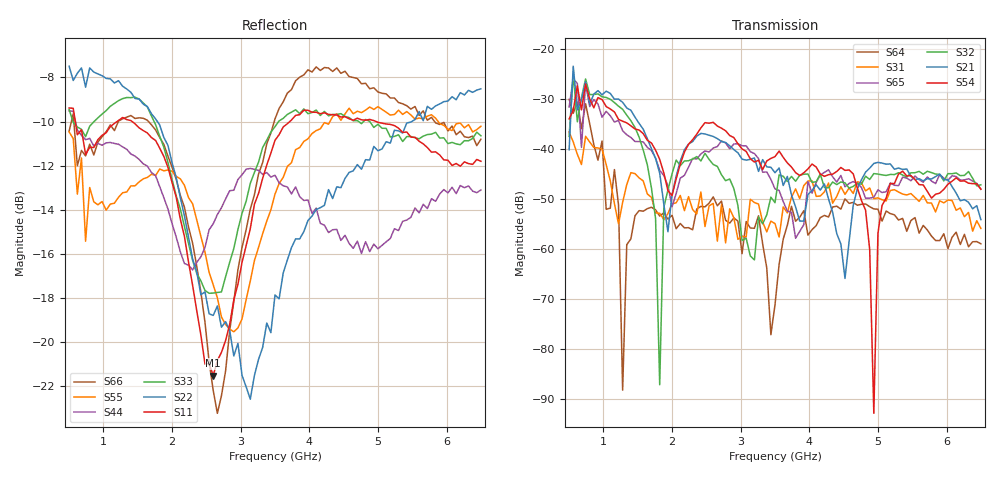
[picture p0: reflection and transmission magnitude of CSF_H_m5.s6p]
!Keysight Technologies,M9804A,MY58100912,A.14.10.03
!Date: Thursday, April 27, 2023 10:28:33
!Correction: S11(C  6-Port  )
!S12(C  6-Port  )
!S13(C  6-Port  )
!S14(C  6-Port  )
!S15(C  6-Port  )
!S16(C  6-Port  )
!S21(C  6-Port  )
!S22(C  6-Port  )
!S23(C  6-Port  )
!S24(C  6-Port  )
!S25(C  6-Port  )
!S26(C  6-Port  )
!S31(C  6-Port  )
!S32(C  6-Port  )
!S33(C  6-Port  )
!S34(C  6-Port  )
!S35(C  6-Port  )
!S36(C  6-Port  )
!S41(C  6-Port  )
!S42(C  6-Port  )
!S43(C  6-Port  )
!S44(C  6-Port  )
!S45(C  6-Port  )
!S46(C  6-Port  )
!S51(C  6-Port  )
!S52(C  6-Port  )
!S53(C  6-Port  )
!S54(C  6-Port  )
!S55(C  6-Port  )
!S56(C  6-Port  )
!S61(C  6-Port  )
!S62(C  6-Port  )
!S63(C  6-Port  )
!S64(C  6-Port  )
!S65(C  6-Port  )
!S66(C  6-Port  )
!S6P File: Measurement: :
# Hz S  RI  R 50
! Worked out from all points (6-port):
!   101 points, 500 MHz to 6.5 GHz, reference 50 ohm
!   strongest paths, dB at 500 MHz, 2 GHz, 3.5 GHz, 5 GHz, 6.5 GHz:
!     S54: -34.0, -49.3, -41.5, -56.8, -48.0
!     S21: -40.2, -49.1, -44.7, -42.7, -54.1
!     S32: -37.5, -45.0, -50.7, -45.0, -47.2
!     S65: -31.6, -51.5, -48.0, -48.2, -48.0
!     S31: -36.6, -51.0, -54.9, -49.8, -55.9
!     S64: -30.1, -53.2, -71.1, -52.0, -58.9
!   lowest |S11| = -21.5 dB at 2.6 GHz (marker M1), VSWR 1.18, Z = 42.5 + j2.13 ohm
!   |S11| at or under -10 dB: 589.9 MHz to 1.199 GHz (609.1 MHz wide, 68.1 % of centre); 1.418 GHz to 3.716 GHz (2.298 GHz wide, 89.5 % of centre); 4.973 GHz to end of sweep
